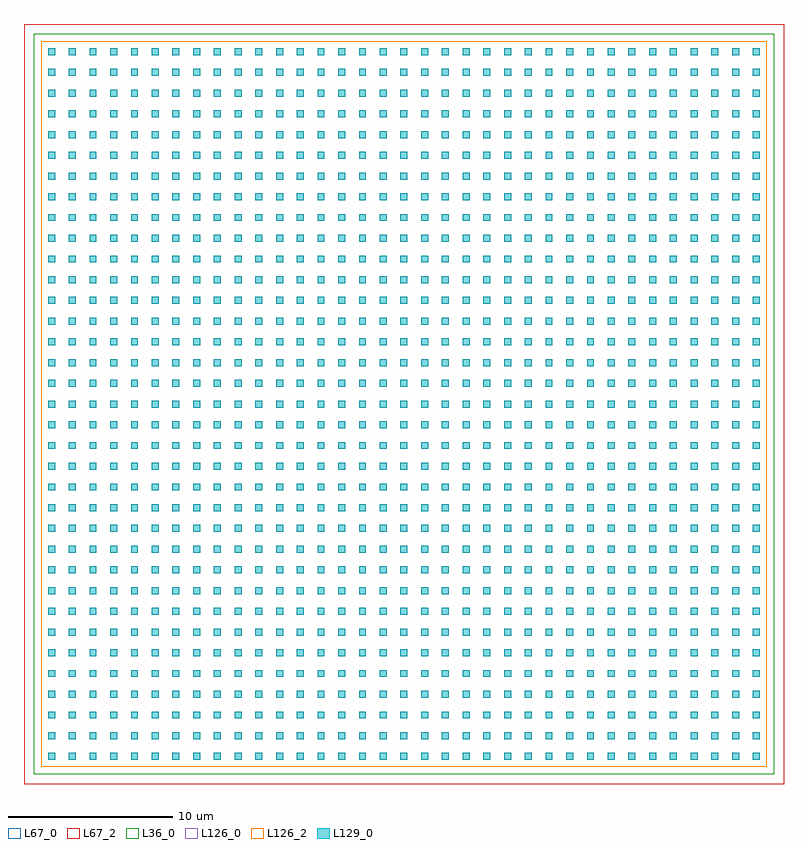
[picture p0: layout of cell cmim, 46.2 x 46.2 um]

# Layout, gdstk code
import gdstk
lib = gdstk.Library(unit=1e-6, precision=1e-09)
def R(c, l, rs):  # rectangles x0, y0, x1, y1
    for r in rs: c.add(gdstk.rectangle(r[:2], r[2:], *l))
def A(c, l, x, y, w, h, nx, ny, dx, dy):  # array of equal rectangles
    R(c, l, [(x+i*dx, y+j*dy, x+i*dx+w, y+j*dy+h) for i in range(nx) for j in range(ny)])
L36_0 = (36, 0)
L67_0 = (67, 0)
L67_2 = (67, 2)
L126_0 = (126, 0)
L126_2 = (126, 2)
L129_0 = (129, 0)

cmim = lib.new_cell('cmim')
R(cmim, L36_0, [(0,0,45,45)])
R(cmim, L67_0, [(-0.6,-0.6,45.6,45.6)])
R(cmim, L67_2, [(-0.6,-0.6,45.6,45.6)])
R(cmim, L126_0, [(0.445,0.445,44.545,44.545)])
R(cmim, L126_2, [(0.445,0.445,44.545,44.545)])
A(cmim, L129_0, 0.865, 0.865, 0.42, 0.42, 35, 35, 1.26, 1.26)

lib.write_gds('cmim.gds')
